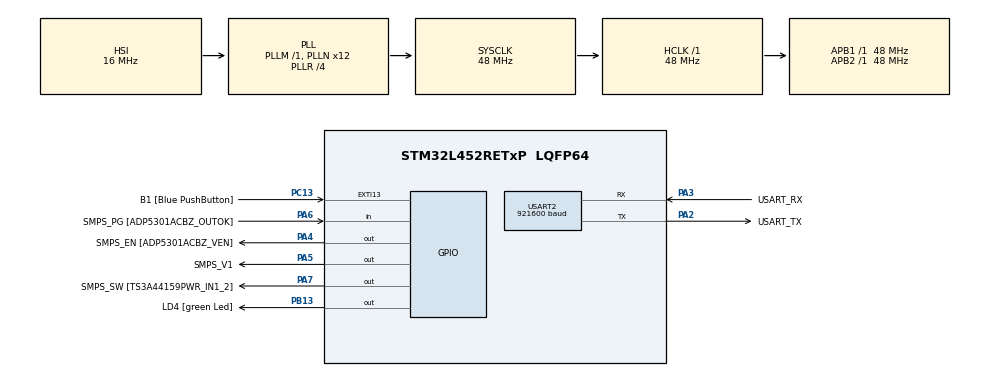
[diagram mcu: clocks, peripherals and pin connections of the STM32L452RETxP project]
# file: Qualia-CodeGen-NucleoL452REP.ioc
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Dma.Request0=USART2_RX
Dma.USART2_RX.0.Direction=DMA_PERIPH_TO_MEMORY
Dma.USART2_RX.0.Instance=DMA1_Channel6
Dma.USART2_RX.0.MemDataAlignment=DMA_MDATAALIGN_BYTE
Dma.USART2_RX.0.MemInc=DMA_MINC_ENABLE
Dma.USART2_RX.0.Mode=DMA_NORMAL
Dma.USART2_RX.0.PeriphDataAlignment=DMA_PDATAALIGN_BYTE
Dma.USART2_RX.0.PeriphInc=DMA_PINC_DISABLE
Dma.USART2_RX.0.Priority=DMA_PRIORITY_MEDIUM
Mcu.Family=STM32L4
Mcu.Name=STM32L452RETxP
Mcu.Package=LQFP64
NVIC.DMA1_Channel6_IRQn=true\:0\:0\:false\:false\:true\:false\:true\:true
NVIC.PriorityGroup=NVIC_PRIORITYGROUP_4
NVIC.USART2_IRQn=true\:0\:0\:false\:false\:true\:true\:true\:true
PA13\ (JTMS/SWDIO).GPIO_Label=TMS
PA13\ (JTMS/SWDIO).Mode=Serial_Wire
PA13\ (JTMS/SWDIO).Signal=SYS_JTMS-SWDIO
PA14\ (JTCK/SWCLK).GPIO_Label=TCK
PA14\ (JTCK/SWCLK).Mode=Serial_Wire
PA14\ (JTCK/SWCLK).Signal=SYS_JTCK-SWCLK
PA2.GPIO_Label=USART_TX
PA2.GPIO_Mode=GPIO_MODE_AF_PP
PA2.GPIO_PuPd=GPIO_NOPULL
PA2.GPIO_Speed=GPIO_SPEED_FREQ_VERY_HIGH
PA2.Mode=Asynchronous
PA2.Signal=USART2_TX
PA3.GPIO_Label=USART_RX
PA3.GPIO_Mode=GPIO_MODE_AF_PP
PA3.GPIO_PuPd=GPIO_NOPULL
PA3.GPIO_Speed=GPIO_SPEED_FREQ_VERY_HIGH
PA3.Mode=Asynchronous
PA3.Signal=USART2_RX
PA4.GPIO_Label=SMPS_EN [ADP5301ACBZ_VEN]
PA4.Signal=GPIO_Output
PA5.GPIO_Label=SMPS_V1
PA5.GPIO_ModeDefaultOutputPP=GPIO_MODE_OUTPUT_PP
PA5.GPIO_PuPd=GPIO_NOPULL
PA5.GPIO_Speed=GPIO_SPEED_FREQ_LOW
PA5.Signal=GPIO_Output
PA6.GPIO_Label=SMPS_PG [ADP5301ACBZ_OUTOK]
PA6.GPIO_PuPd=GPIO_PULLUP
PA6.Signal=GPIO_Input
PA7.GPIO_Label=SMPS_SW [TS3A44159PWR_IN1_2]
PA7.Signal=GPIO_Output
PB13.GPIO_Label=LD4 [green Led]
PB13.Signal=GPIO_Output
PB3\ (JTDO/TRACESWO).GPIO_Label=SWO
PB3\ (JTDO/TRACESWO).Signal=SYS_JTDO-SWO
PC13.GPIO_Label=B1 [Blue PushButton]
PC13.GPIO_ModeDefaultEXTI=GPIO_MODE_IT_FALLING
PC13.GPIO_PuPd=GPIO_NOPULL
PC13.Signal=GPXTI13
PC14-OSC32_IN\ (PC14).Mode=LSE-External-Oscillator
PC14-OSC32_IN\ (PC14).Signal=RCC_OSC32_IN
PC15-OSC32_OUT\ (PC15).Mode=LSE-External-Oscillator
PC15-OSC32_OUT\ (PC15).Signal=RCC_OSC32_OUT
PH0-OSC_IN\ (PH0).GPIO_Label=MCO
PH0-OSC_IN\ (PH0).Mode=HSE-External-Clock-Source
PH0-OSC_IN\ (PH0).Signal=RCC_OSC_IN
PH1-OSC_OUT\ (PH1).Signal=RCC_OSC_OUT
ProjectManager.HeapSize=0x200
ProjectManager.StackSize=0x400
ProjectManager.TargetToolchain=STM32CubeIDE
RCC.ADCFreq_Value=64000000
RCC.AHBFreq_Value=48000000
RCC.APB1Freq_Value=48000000
RCC.APB1TimFreq_Value=48000000
RCC.APB2Freq_Value=48000000
RCC.APB2TimFreq_Value=48000000
RCC.CortexFreq_Value=48000000
RCC.HCLKFreq_Value=48000000
RCC.HSE_VALUE=8000000
RCC.HSI48_VALUE=48000000
RCC.HSI_VALUE=16000000
RCC.MSI_VALUE=4000000
RCC.PLLN=12
RCC.PLLR=RCC_PLLR_DIV4
RCC.PLLSourceVirtual=RCC_PLLSOURCE_HSI
RCC.PREFETCH_ENABLE=1
RCC.SYSCLKFreq_VALUE=48000000
RCC.SYSCLKSource=RCC_SYSCLKSOURCE_PLLCLK
RCC.USART2CLockSelection=RCC_USART2CLKSOURCE_SYSCLK
RCC.USBFreq_Value=64000000
RCC.VCOOutputFreq_Value=192000000
USART2.BaudRate=921600
USART2.VirtualMode-Asynchronous=VM_ASYNC
board=NUCLEO-L452RE-P

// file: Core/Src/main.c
/* USER CODE BEGIN Header */
// Copyright 2021 (c) Pierre-Emmanuel Novac <penovac@unice.fr> Université Côte d'Azur, CNRS, LEAT. All rights reserved.
// April 29, 2021

/**
  ******************************************************************************
  * @file           : main.c
  * @brief          : Main program body
  ******************************************************************************
  * @attention
  *
  * <h2><center>&copy; Copyright (c) 2020 STMicroelectronics.
  * All rights reserved.</center></h2>
  *
  * This software component is licensed by ST under BSD 3-Clause license,
  * the "License"; You may not use this file except in compliance with the
  * License. You may obtain a copy of the License at:
  *                        opensource.org/licenses/BSD-3-Clause
  *
  ******************************************************************************
  */
/* USER CODE END Header */
#include "main.h"

/* USER CODE BEGIN Includes */
#include "stdio.h"
#include "string.h"
#include "NeuralNetwork.h"
/* USER CODE END Includes */

 UART_HandleTypeDef huart2;
DMA_HandleTypeDef hdma_usart2_rx;

void SystemClock_Config(void);
static void MX_GPIO_Init(void);
static void MX_DMA_Init(void);
static void MX_USART2_UART_Init(void);

/* USER CODE BEGIN 0 */
#define MAX_READ_SIZE 16384 // Absolute max is 65535 due to HAL_UART_Receive_DMA size being uint16_t
//#define MAX_READ_SIZE 24576 // Absolute max is 65535 due to HAL_UART_Receive_DMA size being uint16_t
uint8_t receive_buff[MAX_READ_SIZE];                //Define the receive array
extern volatile uint16_t receive_buff_cnt;
//void enterStop1(void);
/* USER CODE END 0 */

int main(void)
{
  /* USER CODE BEGIN 1 */
  char send_msg[32];

  strncpy(send_msg, "READY\r\n", 8);
  /* USER CODE END 1 */

  /* MCU Configuration--------------------------------------------------------*/

  /* Reset of all peripherals, Initializes the Flash interface and the Systick. */
  HAL_Init();

  /* Configure the system clock */
  SystemClock_Config();

  /* Initialize all configured peripherals */
  MX_GPIO_Init();
  MX_DMA_Init();
  MX_USART2_UART_Init();
  /* USER CODE BEGIN 2 */
  //Set up the DMA transmission to move the data of serial port 1 to recvive_buff, 255 bytes at a time
  HAL_UART_Receive_DMA(&huart2, (uint8_t*)receive_buff, MAX_READ_SIZE);
  HAL_UART_Transmit(&huart2, send_msg, 7, 0x200);
  /* USER CODE END 2 */

  /* Infinite loop */
  /* USER CODE BEGIN WHILE */
  int first=1;
  while (1)
  {
	  if (receive_buff_cnt > 0 && receive_buff[receive_buff_cnt - 1] == '\n') {
		  float *inputs = serialBufToFloats(receive_buff, receive_buff_cnt);
		  size_t len = snprintf(send_msg, 32, "%d\r\n", receive_buff_cnt);
		  receive_buff_cnt = 0;
		  HAL_UART_Receive_DMA(&huart2, (uint8_t*)receive_buff, MAX_READ_SIZE);

		  HAL_UART_Transmit(&huart2, send_msg, len, 0x200);

		  struct NNResult res = neuralNetworkInfer(inputs);

		  len = snprintf(send_msg, 32, "%d,%d,%f\r\n", res.inference_count, res.label, (double)res.dist);
		  HAL_UART_Transmit(&huart2, send_msg, len, 0x200);
	  }

	  if (first) {
		  first = 0;
		  //enterStop1();
		  //HAL_UART_Transmit(&huart2, send_msg, 7, 0x200);
	  }

	  //*receive_buff_cnt_pt = 0;
    /* USER CODE END WHILE */

  }
}

void SystemClock_Config(void)
{
  RCC_OscInitTypeDef RCC_OscInitStruct = {0};
  RCC_ClkInitTypeDef RCC_ClkInitStruct = {0};

  /** Configure the main internal regulator output voltage
  */
  if (HAL_PWREx_ControlVoltageScaling(PWR_REGULATOR_VOLTAGE_SCALE1) != HAL_OK)
  {
    Error_Handler();
  }

  /** Initializes the RCC Oscillators according to the specified parameters
  * in the RCC_OscInitTypeDef structure.
  */
  RCC_OscInitStruct.OscillatorType = RCC_OSCILLATORTYPE_HSI;
  RCC_OscInitStruct.HSIState = RCC_HSI_ON;
  RCC_OscInitStruct.HSICalibrationValue = RCC_HSICALIBRATION_DEFAULT;
  RCC_OscInitStruct.PLL.PLLState = RCC_PLL_ON;
  RCC_OscInitStruct.PLL.PLLSource = RCC_PLLSOURCE_HSI;
  RCC_OscInitStruct.PLL.PLLM = 1;
  RCC_OscInitStruct.PLL.PLLN = 12;
  RCC_OscInitStruct.PLL.PLLP = RCC_PLLP_DIV7;
  RCC_OscInitStruct.PLL.PLLQ = RCC_PLLQ_DIV2;
  RCC_OscInitStruct.PLL.PLLR = RCC_PLLR_DIV4;
  if (HAL_RCC_OscConfig(&RCC_OscInitStruct) != HAL_OK)
  {
    Error_Handler();
  }

  /** Initializes the CPU, AHB and APB buses clocks
  */
  RCC_ClkInitStruct.ClockType = RCC_CLOCKTYPE_HCLK|RCC_CLOCKTYPE_SYSCLK
                              |RCC_CLOCKTYPE_PCLK1|RCC_CLOCKTYPE_PCLK2;
  RCC_ClkInitStruct.SYSCLKSource = RCC_SYSCLKSOURCE_PLLCLK;
  RCC_ClkInitStruct.AHBCLKDivider = RCC_SYSCLK_DIV1;
  RCC_ClkInitStruct.APB1CLKDivider = RCC_HCLK_DIV1;
  RCC_ClkInitStruct.APB2CLKDivider = RCC_HCLK_DIV1;

  if (HAL_RCC_ClockConfig(&RCC_ClkInitStruct, FLASH_LATENCY_2) != HAL_OK)
  {
    Error_Handler();
  }
}

static void MX_USART2_UART_Init(void)
{

  huart2.Instance = USART2;
  huart2.Init.BaudRate = 921600;
  huart2.Init.WordLength = UART_WORDLENGTH_8B;
  huart2.Init.StopBits = UART_STOPBITS_1;
  huart2.Init.Parity = UART_PARITY_NONE;
  huart2.Init.Mode = UART_MODE_TX_RX;
  huart2.Init.HwFlowCtl = UART_HWCONTROL_NONE;
  huart2.Init.OverSampling = UART_OVERSAMPLING_16;
  huart2.Init.OneBitSampling = UART_ONE_BIT_SAMPLE_DISABLE;
  huart2.AdvancedInit.AdvFeatureInit = UART_ADVFEATURE_NO_INIT;
  if (HAL_UART_Init(&huart2) != HAL_OK)
  {
    Error_Handler();
  }
  /* USER CODE BEGIN USART2_Init 2 */
  __HAL_UART_ENABLE_IT(&huart2, UART_IT_IDLE);  // Enable serial port idle interrupt
  /* USER CODE END USART2_Init 2 */

}

static void MX_DMA_Init(void)
{

  /* DMA controller clock enable */
  __HAL_RCC_DMA1_CLK_ENABLE();

  /* DMA interrupt init */
  /* DMA1_Channel6_IRQn interrupt configuration */
  HAL_NVIC_SetPriority(DMA1_Channel6_IRQn, 0, 0);
  HAL_NVIC_EnableIRQ(DMA1_Channel6_IRQn);

}

static void MX_GPIO_Init(void)
{
  GPIO_InitTypeDef GPIO_InitStruct = {0};

  /* GPIO Ports Clock Enable */
  __HAL_RCC_GPIOC_CLK_ENABLE();
  __HAL_RCC_GPIOH_CLK_ENABLE();
  __HAL_RCC_GPIOA_CLK_ENABLE();
  __HAL_RCC_GPIOB_CLK_ENABLE();

  /*Configure GPIO pin Output Level */
  HAL_GPIO_WritePin(GPIOA, SMPS_EN_Pin|SMPS_V1_Pin|SMPS_SW_Pin, GPIO_PIN_RESET);

  /*Configure GPIO pin Output Level */
  HAL_GPIO_WritePin(LD4_GPIO_Port, LD4_Pin, GPIO_PIN_RESET);

  /*Configure GPIO pin : B1_Pin */
  GPIO_InitStruct.Pin = B1_Pin;
  GPIO_InitStruct.Mode = GPIO_MODE_IT_FALLING;
  GPIO_InitStruct.Pull = GPIO_NOPULL;
  HAL_GPIO_Init(B1_GPIO_Port, &GPIO_InitStruct);

  /*Configure GPIO pins : SMPS_EN_Pin SMPS_V1_Pin SMPS_SW_Pin */
  GPIO_InitStruct.Pin = SMPS_EN_Pin|SMPS_V1_Pin|SMPS_SW_Pin;
  GPIO_InitStruct.Mode = GPIO_MODE_OUTPUT_PP;
  GPIO_InitStruct.Pull = GPIO_NOPULL;
  GPIO_InitStruct.Speed = GPIO_SPEED_FREQ_LOW;
  HAL_GPIO_Init(GPIOA, &GPIO_InitStruct);

  /*Configure GPIO pin : SMPS_PG_Pin */
  GPIO_InitStruct.Pin = SMPS_PG_Pin;
  GPIO_InitStruct.Mode = GPIO_MODE_INPUT;
  GPIO_InitStruct.Pull = GPIO_PULLUP;
  HAL_GPIO_Init(SMPS_PG_GPIO_Port, &GPIO_InitStruct);

  /*Configure GPIO pin : LD4_Pin */
  GPIO_InitStruct.Pin = LD4_Pin;
  GPIO_InitStruct.Mode = GPIO_MODE_OUTPUT_PP;
  GPIO_InitStruct.Pull = GPIO_NOPULL;
  GPIO_InitStruct.Speed = GPIO_SPEED_FREQ_LOW;
  HAL_GPIO_Init(LD4_GPIO_Port, &GPIO_InitStruct);

}

void Error_Handler(void)
{
}
